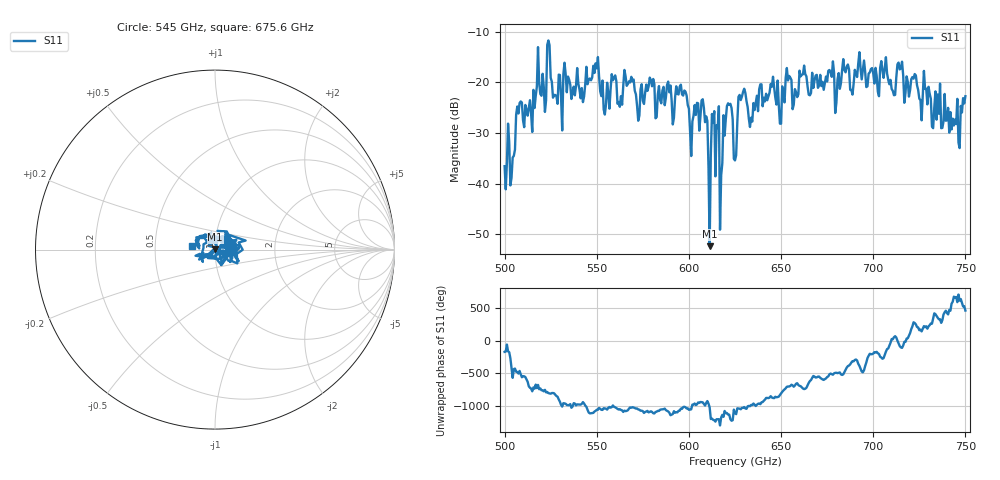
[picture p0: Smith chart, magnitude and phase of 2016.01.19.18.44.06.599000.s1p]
!Created with skrf (http://scikit-rf.org).
# GHz S RI R 50.0
!freq ReS11 ImS11
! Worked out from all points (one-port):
!   401 points, 500 GHz to 750 GHz, reference 50 ohm
!   lowest |S11| = -52.4 dB at 611.2 GHz (marker M1), VSWR 1.00, Z = 50.1 + j0.192 ohm
!   |S11| at or under -10 dB: start of sweep to end of sweep
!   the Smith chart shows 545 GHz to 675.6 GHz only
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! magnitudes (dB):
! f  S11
! 500 GHz  -36.6
! 504.4 GHz  -34.8
! 507.5 GHz  -26.1
! 521.2 GHz  -20.9
! 524.4 GHz  -12.6
! 527.5 GHz  -22.5
! 531.2 GHz  -29.5
! 549.4 GHz  -16.2
! 553.8 GHz  -25.3
! 559.4 GHz  -19.1
! 562.5 GHz  -24.8
! 566.2 GHz  -20.7
! 571.9 GHz  -24.6
! 593.8 GHz  -22.3
! 601.2 GHz  -34.6
! 608.1 GHz  -25.1
! 611.2 GHz  -52.4
! 615 GHz  -28.5
! 618.1 GHz  -36.0
! 621.9 GHz  -24.4
! 625 GHz  -35.4
! 628.8 GHz  -22.8
! 633.1 GHz  -28.8
! 656.2 GHz  -25.3
! 687.5 GHz  -21.5
! 718.8 GHz  -19.9
! 745.6 GHz  -23.3
! 750 GHz  -22.7
